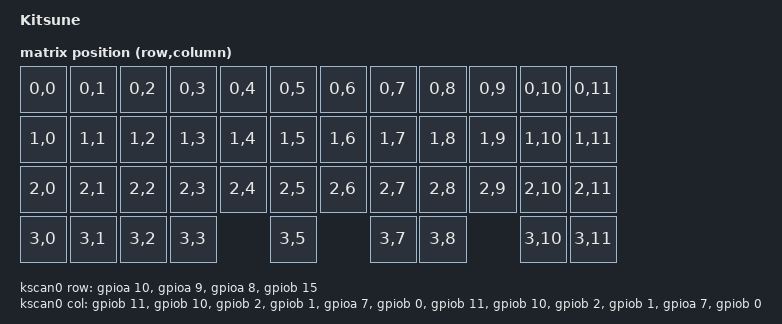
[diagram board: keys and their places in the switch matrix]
/dts-v1/;
#include <st/f0/stm32f072Xb.dtsi>
#include <st/f0/stm32f072c(8-b)tx-pinctrl.dtsi>
#include <dt-bindings/zmk/matrix_transform.h>

#include <layouts/kitsune/default.dtsi>
#include <layouts/kitsune/tsangan.dtsi>

/ {
    model = "Kitsune";
    compatible = "kitsune,v1", "st,stm32f072";

    chosen {
        zephyr,sram = &sram0;
        zephyr,flash = &flash0;
        zmk,kscan = &kscan0;
        // Omitted for zmk studio compatability
        //zmk,matrix-transform = &default_transform;

    };

    kscan0: kscan {
        compatible = "zmk,kscan-gpio-matrix";
                diode-direction = "col2row";
        row-gpios
            = <&gpioa 10 (GPIO_ACTIVE_HIGH | GPIO_PULL_DOWN)>
            , <&gpioa 9  (GPIO_ACTIVE_HIGH | GPIO_PULL_DOWN)>
            , <&gpioa 8  (GPIO_ACTIVE_HIGH | GPIO_PULL_DOWN)>
            , <&gpiob 15 (GPIO_ACTIVE_HIGH | GPIO_PULL_DOWN)>
            ;
        col-gpios
            = <&gpiob 11 GPIO_ACTIVE_HIGH>
            , <&gpiob 10 GPIO_ACTIVE_HIGH>
            , <&gpiob 2  GPIO_ACTIVE_HIGH>
            , <&gpiob 1  GPIO_ACTIVE_HIGH>
            , <&gpioa 7  GPIO_ACTIVE_HIGH>
            , <&gpiob 0  GPIO_ACTIVE_HIGH>
            , <&gpiob 11 GPIO_ACTIVE_HIGH>
            , <&gpiob 10 GPIO_ACTIVE_HIGH>
            , <&gpiob 2  GPIO_ACTIVE_HIGH>
            , <&gpiob 1  GPIO_ACTIVE_HIGH>
            , <&gpioa 7  GPIO_ACTIVE_HIGH>
            , <&gpiob 0  GPIO_ACTIVE_HIGH>
            ;
    };

    default_transform: keymap_transform_0 {
        compatible = "zmk,matrix-transform";
        columns = <12>;
        rows = <4>;
        map = <
RC(0,0) RC(0,1) RC(0,2) RC(0,3) RC(0,4) RC(0,5) RC(0,6) RC(0,7) RC(0,8) RC(0,9) RC(0,10) RC(0,11)
RC(1,0) RC(1,1) RC(1,2) RC(1,3) RC(1,4) RC(1,5) RC(1,6) RC(1,7) RC(1,8) RC(1,9) RC(1,10) RC(1,11)
RC(2,0) RC(2,1) RC(2,2) RC(2,3) RC(2,4) RC(2,5) RC(2,6) RC(2,7) RC(2,8) RC(2,9) RC(2,10) RC(2,11)
RC(3,0) RC(3,1) RC(3,2) RC(3,3)         RC(3,5)         RC(3,7) RC(3,8)         RC(3,10) RC(3,11)
        >;
    };
};

&clk_hsi {
    status = "okay";
};

&pll {
    status = "okay";
    prediv = <1>;
    mul = <6>;
    clocks = <&clk_hsi>;
};

&rcc {
    clocks = <&pll>;
    clock-frequency = <DT_FREQ_M(48)>;
    ahb-prescaler = <1>;
    apb1-prescaler = <1>;
};

zephyr_udc0: &usb {
    status = "okay";
    pinctrl-0 = <&usb_dm_pa11 &usb_dp_pa12>;
    pinctrl-names = "default";

    // Overridden to lower RAM usage.
    num-bidir-endpoints = <4>;

    // For zmk studio compatibility
    compatible = "vnd,usb-device";

};

&flash0 {
    /*
     * For more information, see:
     * http://docs.zephyrproject.org/latest/guides/dts/index.html#flash-partitions
     */
    partitions {
        compatible = "fixed-partitions";
        #address-cells = <1>;
        #size-cells = <1>;

        /* Set 6Kb of storage at the end of the 128Kb of flash */
        storage_partition: partition@1e800 {
            reg = <0x0001e800 0x00001800>;
        };
    };
};

&layout_kitsune_default {
    transform = <&default_transform>;
};

&layout_kitsune_tsangan {
    transform = <&default_transform>;
};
